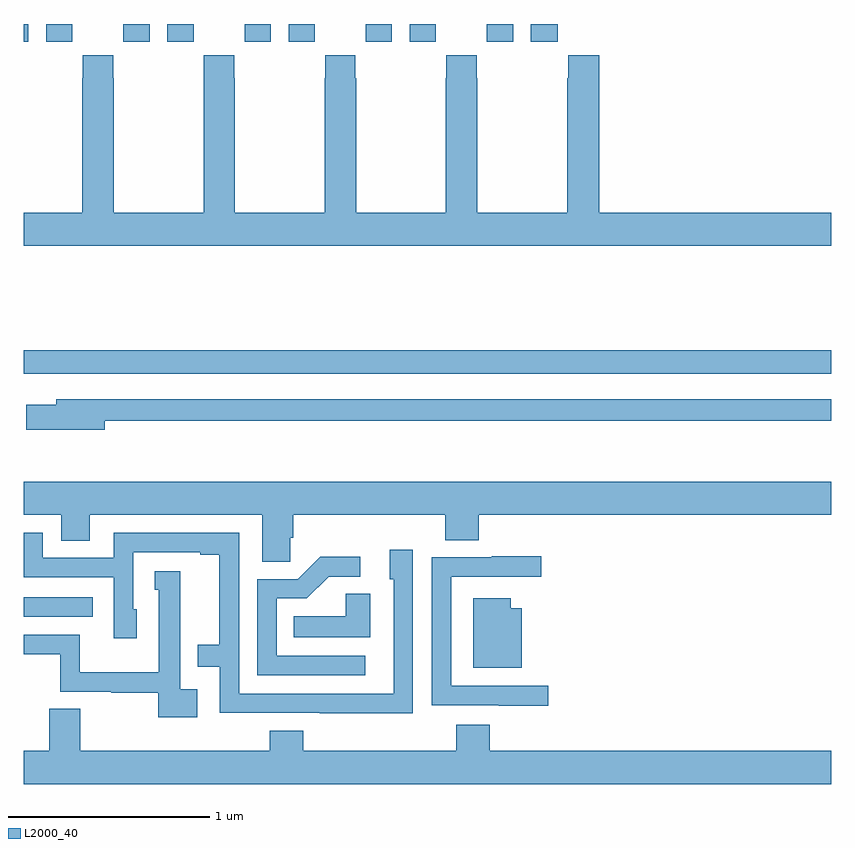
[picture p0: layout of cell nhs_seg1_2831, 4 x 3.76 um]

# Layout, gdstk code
import gdstk
lib = gdstk.Library(unit=1e-6, precision=1e-09)
def R(c, l, rs):  # rectangles x0, y0, x1, y1
    for r in rs: c.add(gdstk.rectangle(r[:2], r[2:], *l))
def P(c, l, *ps):  # polygons
    for p in ps: c.add(gdstk.Polygon(p, *l))
L2000_40 = (2000, 40)

nhs_seg1_2831 = lib.new_cell('nhs_seg1_2831')
R(nhs_seg1_2831, L2000_40, [(265,515.265,265.342,515.361), (265,516.468,269,516.584), (265,518.112,265.024,518.199), (265.112,518.112,265.242,518.199), (265.494,518.112,265.624,518.199), (265.712,518.112,265.842,518.199), (266.094,518.112,266.224,518.199), (266.312,518.112,266.442,518.199), (266.694,518.112,266.824,518.199), (266.912,518.112,267.042,518.199), (267.294,518.112,267.424,518.199), (267.512,518.112,267.646,518.199)])
P(nhs_seg1_2831, L2000_40, [(266.043,517.931),(266.043,518.044),(265.893,518.044),(265.893,517.931),(265.891,517.931),(265.891,517.264),(265.446,517.264),(265.446,517.931),(265.443,517.931),(265.443,518.044),(265.293,518.044),(265.293,517.931),(265.291,517.931),(265.291,517.264),(265,517.264),(265,517.1),(269,517.1),(269,517.264),(267.851,517.264),(267.851,518.044),(267.697,518.044),(267.697,517.931),(267.691,517.931),(267.691,517.264),(267.246,517.264),(267.246,517.931),(267.243,517.931),(267.243,518.044),(267.093,518.044),(267.093,517.931),(267.091,517.931),(267.091,517.264),(266.646,517.264),(266.646,517.931),(266.643,517.931),(266.643,518.044),(266.493,518.044),(266.493,517.931),(266.491,517.931),(266.491,517.264),(266.046,517.264),(266.046,517.931)],
  [(265.402,516.234),(269,516.234),(269,516.342),(265.163,516.342),(265.163,516.313),(265.014,516.313),(265.014,516.191),(265.402,516.191)],
  [(265,515.768),(265.187,515.768),(265.187,515.641),(265.327,515.641),(265.327,515.768),(266.183,515.768),(266.183,515.536),(266.321,515.536),(266.321,515.656),(266.336,515.656),(266.336,515.768),(267.089,515.768),(267.089,515.644),(267.254,515.644),(267.254,515.768),(269,515.768),(269,515.932),(265,515.932)],
  [(266.928,515.596),(266.813,515.596),(266.813,515.451),(266.832,515.451),(266.832,514.884),(266.067,514.884),(266.067,515.679),(265.446,515.679),(265.446,515.556),(265.095,515.556),(265.095,515.679),(265,515.679),(265,515.46),(265.446,515.46),(265.446,515.157),(265.561,515.157),(265.561,515.301),(265.542,515.301),(265.542,515.583),(265.874,515.583),(265.874,515.571),(265.97,515.571),(265.97,515.125),(265.862,515.125),(265.862,515.016),(265.971,515.016),(265.971,514.788),(266.467,514.788),(266.467,514.787),(266.928,514.787)],
  [(267.598,514.923),(267.117,514.923),(267.117,515.463),(267.562,515.463),(267.562,515.563),(267.317,515.563),(267.317,515.559),(267.021,515.559),(267.021,514.827),(267.353,514.827),(267.353,514.823),(267.598,514.823)],
  [(266.692,515.07),(266.253,515.07),(266.253,515.355),(266.403,515.355),(266.511,515.463),(266.668,515.463),(266.668,515.561),(266.468,515.561),(266.358,515.451),(266.157,515.451),(266.157,514.974),(266.692,514.974)],
  [(265.861,514.906),(265.776,514.906),(265.776,515.002),(265.777,515.002),(265.777,515.49),(265.649,515.49),(265.649,515.397),(265.67,515.397),(265.67,514.99),(265.279,514.99),(265.279,515.175),(265,515.175),(265,515.079),(265.181,515.079),(265.181,514.893),(265.434,514.893),(265.434,514.888),(265.668,514.888),(265.668,514.766),(265.861,514.766)],
  [(266.716,515.378),(266.594,515.378),(266.594,515.266),(266.338,515.266),(266.338,515.162),(266.716,515.162)],
  [(267.466,515.305),(267.413,515.305),(267.413,515.356),(267.227,515.356),(267.227,515.012),(267.466,515.012)],
  [(269,514.6),(267.308,514.6),(267.308,514.729),(267.143,514.729),(267.143,514.6),(266.384,514.6),(266.384,514.699),(266.219,514.699),(266.219,514.6),(265.281,514.6),(265.281,514.808),(265.126,514.808),(265.126,514.6),(265,514.6),(265,514.436),(269,514.436)])

lib.write_gds('nhs_seg1_2831.gds')
